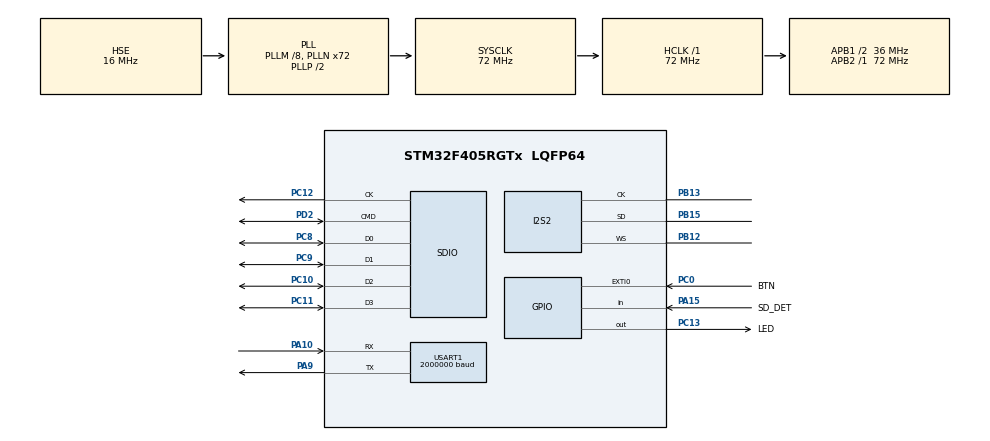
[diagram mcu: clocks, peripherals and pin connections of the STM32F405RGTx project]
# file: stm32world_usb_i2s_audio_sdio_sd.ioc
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ARM.CMSIS.5.6.0.CMSISJjDSP=Library
Dma.Request0=SPI2_TX
Dma.SPI2_TX.0.Direction=DMA_MEMORY_TO_PERIPH
Dma.SPI2_TX.0.FIFOMode=DMA_FIFOMODE_DISABLE
Dma.SPI2_TX.0.Instance=DMA1_Stream4
Dma.SPI2_TX.0.MemDataAlignment=DMA_MDATAALIGN_HALFWORD
Dma.SPI2_TX.0.MemInc=DMA_MINC_ENABLE
Dma.SPI2_TX.0.Mode=DMA_CIRCULAR
Dma.SPI2_TX.0.PeriphDataAlignment=DMA_PDATAALIGN_HALFWORD
Dma.SPI2_TX.0.PeriphInc=DMA_PINC_DISABLE
Dma.SPI2_TX.0.Priority=DMA_PRIORITY_MEDIUM
FATFS.BSP.number=1
FATFS._FS_EXFAT=1
FATFS._FS_LOCK=8
FATFS._FS_NOFSINFO=1
FATFS._MAX_SS=4096
FATFS._USE_CHMOD=1
FATFS._USE_EXPAND=1
FATFS._USE_FIND=1
FATFS._USE_FORWARD=1
FATFS._USE_LABEL=1
FATFS._USE_LFN=1
FATFS._VOLUMES=1
FATFS0.BSP.STBoard=false
FATFS0.BSP.api=Unknown
FATFS0.BSP.instance=PA15
FATFS0.BSP.ip=GPIO
FATFS0.BSP.mode=Input
FATFS0.BSP.name=Detect_SDIO
FATFS0.BSP.solution=PA15
I2S2.AudioFreq=I2S_AUDIOFREQ_96K
I2S2.DataFormat=I2S_DATAFORMAT_16B
I2S2.ErrorAudioFreq=0.15 %
I2S2.FullDuplexMode=I2S_FULLDUPLEXMODE_DISABLE
I2S2.Instance=SPI$Index
I2S2.RealAudioFreq=96.153 KHz
I2S2.Standard=I2S_STANDARD_PHILIPS
I2S2.VirtualMode=I2S_MODE_MASTER
Mcu.Family=STM32F4
Mcu.Name=STM32F405RGTx
Mcu.Package=LQFP64
NVIC.DMA1_Stream4_IRQn=true\:0\:0\:false\:false\:true\:false\:true\:true
NVIC.EXTI0_IRQn=true\:0\:0\:false\:false\:true\:true\:true\:true
NVIC.PriorityGroup=NVIC_PRIORITYGROUP_4
NVIC.SDIO_IRQn=true\:0\:0\:false\:false\:true\:true\:true\:true
PA10.Mode=Asynchronous
PA10.Signal=USART1_RX
PA13.Mode=Trace_Asynchronous_SW
PA13.Signal=SYS_JTMS-SWDIO
PA14.Mode=Trace_Asynchronous_SW
PA14.Signal=SYS_JTCK-SWCLK
PA15.GPIO_Label=SD_DET
PA15.Signal=GPIO_Input
PA9.Mode=Asynchronous
PA9.Signal=USART1_TX
PB12.Mode=Half_Duplex_Master
PB12.Signal=I2S2_WS
PB13.Mode=Half_Duplex_Master
PB13.Signal=I2S2_CK
PB15.Mode=Half_Duplex_Master
PB15.Signal=I2S2_SD
PB3.Mode=Trace_Asynchronous_SW
PB3.Signal=SYS_JTDO-SWO
PC0.GPIO_Label=BTN
PC0.GPIO_ModeDefaultEXTI=GPIO_MODE_IT_RISING_FALLING
PC0.GPIO_PuPd=GPIO_PULLUP
PC0.Signal=GPXTI0
PC10.GPIO_PuPd=GPIO_PULLUP
PC10.Mode=SD_4_bits_Wide_bus
PC10.Signal=SDIO_D2
PC11.GPIO_PuPd=GPIO_PULLUP
PC11.Mode=SD_4_bits_Wide_bus
PC11.Signal=SDIO_D3
PC12.Mode=SD_4_bits_Wide_bus
PC12.Signal=SDIO_CK
PC13-ANTI_TAMP.GPIO_Label=LED
PC13-ANTI_TAMP.GPIO_ModeDefaultOutputPP=GPIO_MODE_OUTPUT_OD
PC13-ANTI_TAMP.GPIO_PuPd=GPIO_NOPULL
PC13-ANTI_TAMP.PinState=GPIO_PIN_SET
PC13-ANTI_TAMP.Signal=GPIO_Output
PC8.GPIO_PuPd=GPIO_PULLUP
PC8.Mode=SD_4_bits_Wide_bus
PC8.Signal=SDIO_D0
PC9.GPIO_PuPd=GPIO_PULLUP
PC9.Mode=SD_4_bits_Wide_bus
PC9.Signal=SDIO_D1
PD2.GPIO_PuPd=GPIO_PULLUP
PD2.Mode=SD_4_bits_Wide_bus
PD2.Signal=SDIO_CMD
PH0-OSC_IN.Mode=HSE-External-Oscillator
PH0-OSC_IN.Signal=RCC_OSC_IN
PH1-OSC_OUT.Mode=HSE-External-Oscillator
PH1-OSC_OUT.Signal=RCC_OSC_OUT
ProjectManager.HeapSize=0x400
ProjectManager.StackSize=0x800
ProjectManager.TargetToolchain=STM32CubeIDE
RCC.48MHZClocksFreq_Value=48000000
RCC.AHBFreq_Value=72000000
RCC.APB1CLKDivider=RCC_HCLK_DIV2
RCC.APB1Freq_Value=36000000
RCC.APB1TimFreq_Value=72000000
RCC.APB2Freq_Value=72000000
RCC.APB2TimFreq_Value=72000000
RCC.CortexFreq_Value=72000000
RCC.HCLKFreq_Value=72000000
RCC.HSE_VALUE=16000000
RCC.HSI_VALUE=16000000
RCC.LSE_VALUE=32768
RCC.PLLI2SN=120
RCC.PLLM=8
RCC.PLLN=72
RCC.PLLQ=3
RCC.PLLSourceVirtual=RCC_PLLSOURCE_HSE
RCC.SYSCLKFreq_VALUE=72000000
RCC.SYSCLKSource=RCC_SYSCLKSOURCE_PLLCLK
RCC.VCOOutputFreq_Value=144000000
SDIO.ClockBypass=SDIO_CLOCK_BYPASS_DISABLE
SDIO.ClockDiv=4
USART1.BaudRate=2000000
USART1.VirtualMode=VM_ASYNC
VP_ARM.CMSIS_VS_CMSISJjDSP_1.7.0_5.6.0.Mode=CMSISJjDSP
VP_FATFS_VS_SDIO.Mode=SDIO
board=custom

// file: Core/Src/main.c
/* USER CODE BEGIN Header */
/**
 ******************************************************************************
 * @file           : main.c
 * @brief          : Main program body
 ******************************************************************************
 * @attention
 *
 * Copyright (c) 2025 Lars Boegild Thomsen <lth@stm32world.com>
 * All rights reserved.
 *
 * This software is licensed under terms that can be found in the LICENSE file
 * in the root directory of this software component.
 * If no LICENSE file comes with this software, it is provided AS-IS.
 *
 ******************************************************************************
 */
/* USER CODE END Header */
#include "main.h"
#include "fatfs.h"

/* USER CODE BEGIN Includes */
#include <stdio.h>
#include <string.h>
#include <math.h>
#include "arm_math.h"
/* USER CODE END Includes */

/* USER CODE BEGIN PD */

#define TAU 6.28318530717958647692
#define I2S_DMA_BUFFER_SAMPLES 512
#define I2S_DMA_BUFFER_SIZE 2 * 2 * I2S_DMA_BUFFER_SAMPLES // 2 full buffers L+R samples
#define SAMPLE_FREQ 96000
#define OUTPUT_MID 32768

/* USER CODE END PD */

I2S_HandleTypeDef hi2s2;
DMA_HandleTypeDef hdma_spi2_tx;

SD_HandleTypeDef hsd;

UART_HandleTypeDef huart1;

/* USER CODE BEGIN PV */

const uint32_t sample_frequencies[] = {
I2S_AUDIOFREQ_96K,
I2S_AUDIOFREQ_48K,
I2S_AUDIOFREQ_44K
};

uint8_t current_freq = 0;

float freq[2] = {
        220,
        440
};

float angle[2] = {
        0,
        0
};

// Will be calculated from freq
float angle_change[2] = {
        0,
        0
};

float amplification[2] = {
        0.8,
        0.8
};

const char total_uptime_filename[] = "uptime.dat";

int16_t i2s_dma_buffer[I2S_DMA_BUFFER_SIZE];
int16_t *do_buffer;

uint32_t buffers_done;
uint32_t total_uptime;

uint8_t open_next_file = 1;

FRESULT res;
DIR dir;
FIL music_file;
FILINFO music_file_info;

/* USER CODE END PV */

void SystemClock_Config(void);
static void MX_GPIO_Init(void);
static void MX_DMA_Init(void);
static void MX_USART1_UART_Init(void);
static void MX_I2S2_Init(void);
static void MX_SDIO_SD_Init(void);

/* USER CODE BEGIN 0 */

// Send printf to uart1
int _write(int fd, char *ptr, int len) {
    HAL_StatusTypeDef hstatus;

    if (fd == 1 || fd == 2) {
        hstatus = HAL_UART_Transmit(&huart1, (uint8_t*) ptr, len, HAL_MAX_DELAY);
        if (hstatus == HAL_OK)
            return len;
        else
            return -1;
    }
    return -1;
}

void HAL_GPIO_EXTI_Callback(uint16_t GPIO_Pin) {
    if (GPIO_Pin == BTN_Pin) {

        printf("BTN ");
        GPIO_PinState pin_state = HAL_GPIO_ReadPin(BTN_GPIO_Port, BTN_Pin);

        if (pin_state == GPIO_PIN_RESET) {
            printf("released\n");
            open_next_file = 1;
            //new_btn_state = 1;
        } else {
            printf("pressed\n");
            //new_btn_state = 0;
        }

    }
}

void ls() {

    char *path;

    path = ""; // where you want to list

    res = f_opendir(&dir, path);

#ifdef DEBUG
    if (res != FR_OK)
        printf("res = %d f_opendir\n", res);
#endif

    if (res == FR_OK) {
        while (1) {

            FILINFO fno;

            res = f_readdir(&dir, &fno);

#ifdef DEBUG
            if (res != FR_OK)
                printf("res = %d f_readdir\n", res);
#endif

            if ((res != FR_OK) || (fno.fname[0] == 0))
                break;

            printf("%c%c%c%c %10d %s/%s\n",
                    ((fno.fattrib & AM_DIR) ? 'D' : '-'),
                    ((fno.fattrib & AM_RDO) ? 'R' : '-'),
                    ((fno.fattrib & AM_SYS) ? 'S' : '-'),
                    ((fno.fattrib & AM_HID) ? 'H' : '-'),
                    (int) fno.fsize, path, fno.fname);
        }

    }

    uint32_t free_clusters;
    FATFS *fs_ptr;

    res = f_getfree("", &free_clusters, &fs_ptr);
    if (res == FR_OK) {
        uint32_t totalBlocks = (fs_ptr->n_fatent - 2) * fs_ptr->csize;
        uint32_t freeBlocks = free_clusters * fs_ptr->csize;

        printf("Total blocks: %lu (%lu Mb)\n", totalBlocks, totalBlocks / 2000);
        printf("Free blocks : %lu (%lu Mb)\n", freeBlocks, freeBlocks / 2000);
    } else {
        printf("Unable to get free space\n");
    }

}

void HAL_I2S_TxCpltCallback(I2S_HandleTypeDef *hi2s) {
    do_buffer = &i2s_dma_buffer[2 * I2S_DMA_BUFFER_SAMPLES]; // Second half
}

void HAL_I2S_TxHalfCpltCallback(I2S_HandleTypeDef *hi2s) {
    do_buffer = &i2s_dma_buffer[0]; // Second half
}

uint8_t BSP_SD_IsDetected(void)
{
    __IO uint8_t status = SD_PRESENT;

//    if (HAL_GPIO_ReadPin(SD_DETECT_GPIO_PORT, SD_DETECT_PIN) != GPIO_PIN_RESET) {
//        status = SD_NOT_PRESENT;
//    }

    return status;
}

void set_angle_changes() {
    angle_change[0] = freq[0] * (TAU / sample_frequencies[current_freq]); // left
    angle_change[1] = freq[1] * (TAU / sample_frequencies[current_freq]);  // right
}

void set_i2s_freq(uint32_t freq) {

    // Pause the DMA transfers
    HAL_I2S_DMAStop(&hi2s2);

    // Deinit
    HAL_I2S_DeInit(&hi2s2);

    hi2s2.Init.AudioFreq = freq;

    HAL_I2S_Init(&hi2s2);

    set_angle_changes();

    // Restart DMA
    //HAL_I2S_DMAResume(&hi2s2);
    HAL_I2S_Transmit_DMA(&hi2s2, (uint16_t*) &i2s_dma_buffer, I2S_DMA_BUFFER_SIZE);

}

FRESULT parse_wav_header(FIL *f) {

    char buf[128];  // 128 bytes for header - enough?
    unsigned int n;

    if (f_read(f, &buf, 128, &n) != FR_OK && n != 128) {
        printf("Read error\n");
        return FR_INT_ERR;
    }

    if (strstr(buf, "RIFF") != &buf) {
        printf("File is not a RIFF file\n");
    }

    return FR_OK;
}
/* USER CODE END 0 */

int main(void)
{

  /* MCU Configuration--------------------------------------------------------*/

  /* Reset of all peripherals, Initializes the Flash interface and the Systick. */
  HAL_Init();

  /* Configure the system clock */
  SystemClock_Config();

  /* Initialize all configured peripherals */
  MX_GPIO_Init();
  MX_DMA_Init();
  MX_USART1_UART_Init();
  MX_I2S2_Init();
  MX_SDIO_SD_Init();
  MX_FATFS_Init();
  /* USER CODE BEGIN 2 */

    printf("\n\n\n---------------------\nStarting music player\n");

    printf("SD Card Information:\n");
    printf("Block size  : %lu\n", hsd.SdCard.BlockSize);
    printf("Block nmbr  : %lu\n", hsd.SdCard.BlockNbr);
    printf("Card size   : %lu\n", (hsd.SdCard.BlockSize * hsd.SdCard.BlockNbr) / 1000);
    printf("Card version: %lu\n", hsd.SdCard.CardVersion);

    uint32_t wbytes, rbytes;

    if (f_mount(&SDFatFS, (TCHAR const*) SDPath, 0) != FR_OK) {
        printf("Unable to mount disk\n");
        Error_Handler();
    }

    if (f_open(&SDFile, total_uptime_filename, FA_OPEN_EXISTING | FA_READ) == FR_OK) {
        if (f_read(&SDFile, &total_uptime, sizeof(total_uptime), (void*) &rbytes) == FR_OK) {
            printf("Total uptime = %lu\n", total_uptime);
            f_close(&SDFile);
        } else {
            printf("Unable to read\n");
            Error_Handler();
        }
    } else {
        // File did not exist - let's create it
        if (f_open(&SDFile, total_uptime_filename, FA_CREATE_ALWAYS | FA_WRITE) == FR_OK) {
            if (f_write(&SDFile, &total_uptime, sizeof(total_uptime), (void*) &wbytes) == FR_OK) {
                printf("File %s created\n", total_uptime_filename);
                f_close(&SDFile);
            } else {
                printf("Unable to write\n");
                Error_Handler();
            }
        } else {
            printf("Unable to create\n");
            Error_Handler();
        }
    }

    //total_uptime = 0;

    res = f_findfirst(&dir, &music_file_info, "", "*.wav");

    printf("Found: %s\n", music_file_info.fname);

//
//    // Create tick file always
//    if (f_open(&SDFile, tick_filename, FA_CREATE_ALWAYS | FA_WRITE) == FR_OK) {
//        f_close(&SDFile);
//    }

    ls();

    printf("Total uptime reported = %lu\n", total_uptime);

    set_angle_changes();

    //HAL_I2S_Transmit_DMA(&hi2s2, (uint16_t*) &i2s_dma_buffer, 2 * I2S_DMA_BUFFER_SAMPLES);
    HAL_I2S_Transmit_DMA(&hi2s2, (uint16_t*) &i2s_dma_buffer, I2S_DMA_BUFFER_SIZE);

  /* USER CODE END 2 */

  /* Infinite loop */
  /* USER CODE BEGIN WHILE */

    uint32_t now = 0, next_blink = 500, next_tick = 1000, next_freq = 10000, loop_cnt = 0;

    while (1) {

        now = uwTick;

        if (now >= next_blink) {

            HAL_GPIO_TogglePin(LED_GPIO_Port, LED_Pin);

            next_blink = now + 500;
        }

        if (now >= next_tick) {

            printf("Tick %lu (loop=%lu bdo=%lu)\n", now / 1000, loop_cnt, buffers_done);

            if (((now / 1000) % 60) == 0) {

                ++total_uptime;

                printf("Updating total uptime to %lu minutes\n", total_uptime);

                // Update the total uptime file
                if (f_open(&SDFile, total_uptime_filename, FA_OPEN_EXISTING | FA_WRITE) == FR_OK) {
                    if (f_write(&SDFile, &total_uptime, sizeof(total_uptime), (void*) &wbytes) != FR_OK) {
                        printf("Unable to write\n");
                    }
                    f_close(&SDFile);
                } else {
                    printf("Unable to open file\n");
                }

            }

            open_next_file = 0;

            loop_cnt = 0;
            next_tick = now + 1000;

        }

        if (now >= next_freq) {

            // Increase index
            ++current_freq;

            // Loop around if too big
            if (current_freq >= sizeof(sample_frequencies) / sizeof(sample_frequencies[0])) {
                current_freq = 0;
            }

            printf("Setting sample freq to: %lu\n", sample_frequencies[current_freq]);

            // Set the freq
            set_i2s_freq(sample_frequencies[current_freq]);

            next_freq = now + 10000;
        }

        if (open_next_file) {

            char buf[32];
            unsigned int n;

            f_close(&music_file);

            // Experimental advance to next
            res = f_findnext(&dir, &music_file_info);

            if (res != FR_OK || music_file_info.fname[0] == '\0') { // If we're out of files start again
                res = f_findfirst(&dir, &music_file_info, "", "*.wav");
            }

            printf("Next file: %s\n", music_file_info.fname);

            if (f_open(&music_file, music_file_info.fname, FA_READ) != FR_OK) {
                printf("Unable to open %s\n", music_file_info.fname);
            }

            if (parse_wav_header(&music_file) != FR_OK) {

            }

            // Try to read first four byte
//            if (f_read(&music_file, &buf, 4, &n) != FR_OK && n != 4) {
//                printf("Could not read 4 byte\n");
//            }

            printf("File header: %s\n", buf);

            open_next_file = 0;

        }

        if (do_buffer) {

            for (int i = 0; i < 2 * I2S_DMA_BUFFER_SAMPLES; i += 2) { // Two samples left/right per step
                do_buffer[i] = OUTPUT_MID * amplification[0] * arm_cos_f32(angle[0]);      // Left
                do_buffer[i + 1] = OUTPUT_MID * amplification[1] * arm_cos_f32(angle[1]);  // Right
                angle[0] += angle_change[0];
                angle[1] += angle_change[1];
                if (angle[0] > TAU)
                    angle[0] -= TAU;
                if (angle[1] > TAU)
                    angle[1] -= TAU;
            }

            ++buffers_done;
            do_buffer = 0;
        }

        ++loop_cnt;

    /* USER CODE END WHILE */

    }
}

void SystemClock_Config(void)
{
  RCC_OscInitTypeDef RCC_OscInitStruct = {0};
  RCC_ClkInitTypeDef RCC_ClkInitStruct = {0};

  /** Configure the main internal regulator output voltage
  */
  __HAL_RCC_PWR_CLK_ENABLE();
  __HAL_PWR_VOLTAGESCALING_CONFIG(PWR_REGULATOR_VOLTAGE_SCALE1);

  /** Initializes the RCC Oscillators according to the specified parameters
  * in the RCC_OscInitTypeDef structure.
  */
  RCC_OscInitStruct.OscillatorType = RCC_OSCILLATORTYPE_HSE;
  RCC_OscInitStruct.HSEState = RCC_HSE_ON;
  RCC_OscInitStruct.PLL.PLLState = RCC_PLL_ON;
  RCC_OscInitStruct.PLL.PLLSource = RCC_PLLSOURCE_HSE;
  RCC_OscInitStruct.PLL.PLLM = 8;
  RCC_OscInitStruct.PLL.PLLN = 72;
  RCC_OscInitStruct.PLL.PLLP = RCC_PLLP_DIV2;
  RCC_OscInitStruct.PLL.PLLQ = 3;
  if (HAL_RCC_OscConfig(&RCC_OscInitStruct) != HAL_OK)
  {
    Error_Handler();
  }

  /** Initializes the CPU, AHB and APB buses clocks
  */
  RCC_ClkInitStruct.ClockType = RCC_CLOCKTYPE_HCLK|RCC_CLOCKTYPE_SYSCLK
                              |RCC_CLOCKTYPE_PCLK1|RCC_CLOCKTYPE_PCLK2;
  RCC_ClkInitStruct.SYSCLKSource = RCC_SYSCLKSOURCE_PLLCLK;
  RCC_ClkInitStruct.AHBCLKDivider = RCC_SYSCLK_DIV1;
  RCC_ClkInitStruct.APB1CLKDivider = RCC_HCLK_DIV2;
  RCC_ClkInitStruct.APB2CLKDivider = RCC_HCLK_DIV1;

  if (HAL_RCC_ClockConfig(&RCC_ClkInitStruct, FLASH_LATENCY_2) != HAL_OK)
  {
    Error_Handler();
  }
}

static void MX_I2S2_Init(void)
{

  hi2s2.Instance = SPI2;
  hi2s2.Init.Mode = I2S_MODE_MASTER_TX;
  hi2s2.Init.Standard = I2S_STANDARD_PHILIPS;
  hi2s2.Init.DataFormat = I2S_DATAFORMAT_16B;
  hi2s2.Init.MCLKOutput = I2S_MCLKOUTPUT_DISABLE;
  hi2s2.Init.AudioFreq = I2S_AUDIOFREQ_96K;
  hi2s2.Init.CPOL = I2S_CPOL_LOW;
  hi2s2.Init.ClockSource = I2S_CLOCK_PLL;
  hi2s2.Init.FullDuplexMode = I2S_FULLDUPLEXMODE_DISABLE;
  if (HAL_I2S_Init(&hi2s2) != HAL_OK)
  {
    Error_Handler();
  }

}

static void MX_SDIO_SD_Init(void)
{

  hsd.Instance = SDIO;
  hsd.Init.ClockEdge = SDIO_CLOCK_EDGE_RISING;
  hsd.Init.ClockBypass = SDIO_CLOCK_BYPASS_DISABLE;
  hsd.Init.ClockPowerSave = SDIO_CLOCK_POWER_SAVE_DISABLE;
  hsd.Init.BusWide = SDIO_BUS_WIDE_4B;
  hsd.Init.HardwareFlowControl = SDIO_HARDWARE_FLOW_CONTROL_DISABLE;
  hsd.Init.ClockDiv = 4;
  /* USER CODE BEGIN SDIO_Init 2 */

    // First init with 1B bus - SD card will not initialize with 4 bits
    hsd.Init.BusWide = SDIO_BUS_WIDE_1B;
    if (HAL_SD_Init(&hsd) != HAL_OK) {
        Error_Handler();
    }

    // Now we can switch to 4 bit mode
    if (HAL_SD_ConfigWideBusOperation(&hsd, SDIO_BUS_WIDE_4B) != HAL_OK) {
        Error_Handler();
    }

  /* USER CODE END SDIO_Init 2 */

}

static void MX_USART1_UART_Init(void)
{

  huart1.Instance = USART1;
  huart1.Init.BaudRate = 2000000;
  huart1.Init.WordLength = UART_WORDLENGTH_8B;
  huart1.Init.StopBits = UART_STOPBITS_1;
  huart1.Init.Parity = UART_PARITY_NONE;
  huart1.Init.Mode = UART_MODE_TX_RX;
  huart1.Init.HwFlowCtl = UART_HWCONTROL_NONE;
  huart1.Init.OverSampling = UART_OVERSAMPLING_16;
  if (HAL_UART_Init(&huart1) != HAL_OK)
  {
    Error_Handler();
  }

}

static void MX_DMA_Init(void)
{

  /* DMA controller clock enable */
  __HAL_RCC_DMA1_CLK_ENABLE();

  /* DMA interrupt init */
  /* DMA1_Stream4_IRQn interrupt configuration */
  HAL_NVIC_SetPriority(DMA1_Stream4_IRQn, 0, 0);
  HAL_NVIC_EnableIRQ(DMA1_Stream4_IRQn);

}

static void MX_GPIO_Init(void)
{
  GPIO_InitTypeDef GPIO_InitStruct = {0};

  /* GPIO Ports Clock Enable */
  __HAL_RCC_GPIOC_CLK_ENABLE();
  __HAL_RCC_GPIOH_CLK_ENABLE();
  __HAL_RCC_GPIOB_CLK_ENABLE();
  __HAL_RCC_GPIOA_CLK_ENABLE();
  __HAL_RCC_GPIOD_CLK_ENABLE();

  /*Configure GPIO pin Output Level */
  HAL_GPIO_WritePin(LED_GPIO_Port, LED_Pin, GPIO_PIN_SET);

  /*Configure GPIO pin : LED_Pin */
  GPIO_InitStruct.Pin = LED_Pin;
  GPIO_InitStruct.Mode = GPIO_MODE_OUTPUT_OD;
  GPIO_InitStruct.Pull = GPIO_NOPULL;
  GPIO_InitStruct.Speed = GPIO_SPEED_FREQ_LOW;
  HAL_GPIO_Init(LED_GPIO_Port, &GPIO_InitStruct);

  /*Configure GPIO pin : BTN_Pin */
  GPIO_InitStruct.Pin = BTN_Pin;
  GPIO_InitStruct.Mode = GPIO_MODE_IT_RISING_FALLING;
  GPIO_InitStruct.Pull = GPIO_PULLUP;
  HAL_GPIO_Init(BTN_GPIO_Port, &GPIO_InitStruct);

  /*Configure GPIO pin : SD_DET_Pin */
  GPIO_InitStruct.Pin = SD_DET_Pin;
  GPIO_InitStruct.Mode = GPIO_MODE_INPUT;
  GPIO_InitStruct.Pull = GPIO_NOPULL;
  HAL_GPIO_Init(SD_DET_GPIO_Port, &GPIO_InitStruct);

  /* EXTI interrupt init*/
  HAL_NVIC_SetPriority(EXTI0_IRQn, 0, 0);
  HAL_NVIC_EnableIRQ(EXTI0_IRQn);

}

void Error_Handler(void)
{
    __disable_irq();
    while (1)
    {
    }
}
